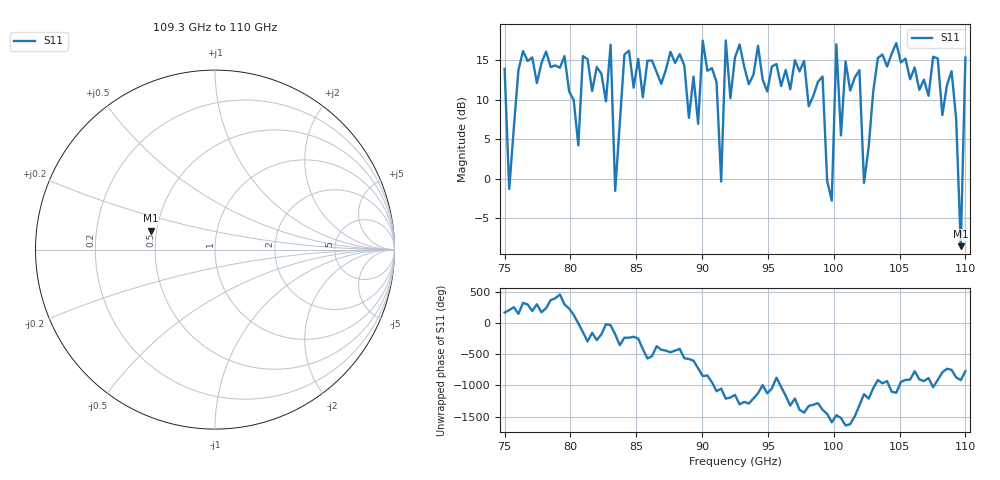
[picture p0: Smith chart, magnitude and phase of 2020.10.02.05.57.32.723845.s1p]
!Created with skrf (http://scikit-rf.org).
# GHz S RI R 50.0
!freq ReS11 ImS11
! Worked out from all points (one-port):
!   101 points, 75 GHz to 110 GHz, reference 50 ohm
!   lowest |S11| = -8.6 dB at 109.7 GHz (marker M1), VSWR 2.19, Z = 23.2 + j5.68 ohm
!   |S11| at or under -10 dB: nowhere
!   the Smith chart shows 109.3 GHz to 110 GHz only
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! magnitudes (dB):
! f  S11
! 75 GHz  13.9
! 75.35 GHz  -1.3
! 76.4 GHz  16.2
! 79.55 GHz  15.6
! 80.6 GHz  4.2
! 80.95 GHz  15.6
! 83.05 GHz  17.0
! 83.4 GHz  -1.5
! 83.75 GHz  7.0
! 84.1 GHz  15.8
! 88.3 GHz  15.8
! 91.1 GHz  12.2
! 91.45 GHz  -0.4
! 91.8 GHz  17.5
! 92.5 GHz  15.4
! 97.05 GHz  15.0
! 99.15 GHz  13.0
! 99.85 GHz  -2.8
! 100.2 GHz  17.0
! 100.5 GHz  5.5
! 101.2 GHz  11.2
! 102 GHz  13.8
! 102.3 GHz  -0.5
! 103.3 GHz  15.3
! 105.8 GHz  12.6
! 109 GHz  13.6
! 109.7 GHz  -8.6
! 110 GHz  15.4
